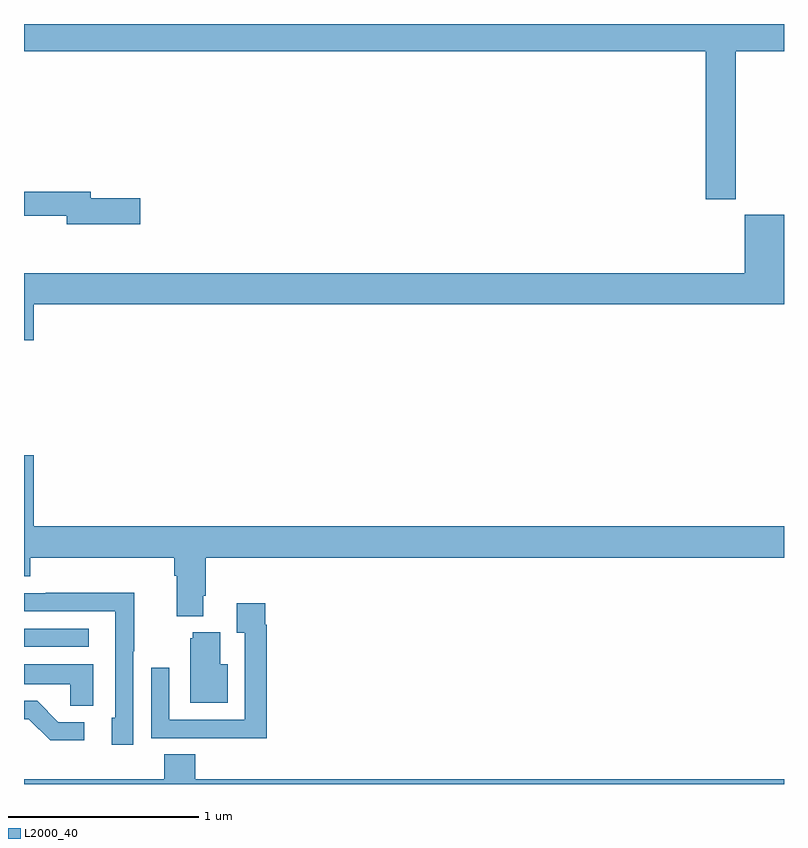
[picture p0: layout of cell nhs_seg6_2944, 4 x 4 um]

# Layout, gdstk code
import gdstk
lib = gdstk.Library(unit=1e-6, precision=1e-09)
def R(c, l, rs):  # rectangles x0, y0, x1, y1
    for r in rs: c.add(gdstk.rectangle(r[:2], r[2:], *l))
def P(c, l, *ps):  # polygons
    for p in ps: c.add(gdstk.Polygon(p, *l))
L2000_40 = (2000, 40)

nhs_seg6_2944 = lib.new_cell('nhs_seg6_2944')
R(nhs_seg6_2944, L2000_40, [(285,924.222,285.34,924.318)])
P(nhs_seg6_2944, L2000_40, [(288.747,927.356),(289,927.356),(289,927.5),(285,927.5),(285,927.356),(288.587,927.356),(288.587,926.577),(288.747,926.577)],
  [(285.613,926.582),(285.352,926.582),(285.352,926.618),(285,926.618),(285,926.49),(285.224,926.49),(285.224,926.447),(285.613,926.447)],
  [(285.052,926.024),(289,926.024),(289,926.497),(288.794,926.497),(288.794,926.188),(285,926.188),(285,925.836),(285.052,925.836)],
  [(285.943,924.49),(285.956,924.49),(285.956,924.692),(289,924.692),(289,924.856),(285.052,924.856),(285.052,925.231),(285,925.231),(285,924.593),(285.032,924.593),(285.032,924.692),(285.791,924.692),(285.791,924.596),(285.803,924.596),(285.803,924.383),(285.943,924.383)],
  [(285.576,924.199),(285.579,924.199),(285.579,924.506),(285.115,924.506),(285.115,924.504),(285,924.504),(285,924.408),(285.48,924.408),(285.48,923.85),(285.461,923.85),(285.461,923.706),(285.576,923.706)],
  [(286.277,924.338),(286.27,924.338),(286.27,924.451),(286.121,924.451),(286.121,924.295),(286.161,924.295),(286.161,923.838),(285.765,923.838),(285.765,924.112),(285.669,924.112),(285.669,923.742),(285.985,923.742),(285.985,923.741),(286.277,923.741)],
  [(286.072,924.13),(286.033,924.13),(286.033,924.298),(285.887,924.298),(285.887,924.267),(285.875,924.267),(285.875,923.927),(286.072,923.927)],
  [(285.364,924.13),(285,924.13),(285,924.026),(285.243,924.026),(285.243,923.911),(285.364,923.911)],
  [(285.316,923.826),(285.181,923.826),(285.07,923.937),(285,923.937),(285,923.841),(285.024,923.841),(285.137,923.729),(285.316,923.729)],
  [(289,923.524),(285.902,923.524),(285.902,923.657),(285.737,923.657),(285.737,923.524),(285,923.524),(285,923.5),(289,923.5)])

lib.write_gds('nhs_seg6_2944.gds')
